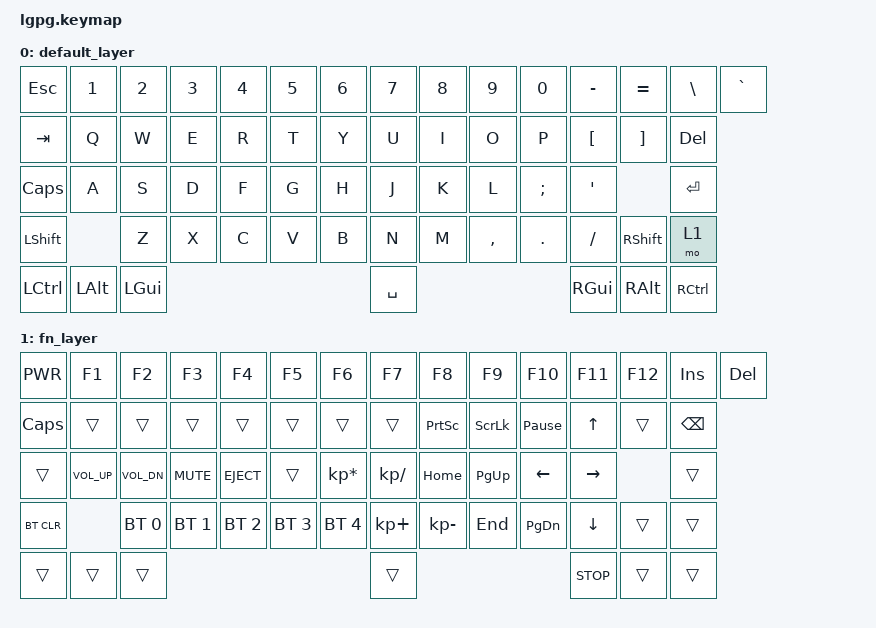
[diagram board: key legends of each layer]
/*
 * Copyright (c) 2022 Ramon Imbao
 *
 * SPDX-License-Identifier: MIT
 */

#include <behaviors.dtsi>
#include <dt-bindings/zmk/keys.h>
#include <dt-bindings/zmk/bt.h>

/ {
    keymap {
        compatible = "zmk,keymap";

        default_layer {
            bindings = <
                &kp ESC   &kp N1    &kp N2    &kp N3    &kp N4    &kp N5    &kp N6    &kp N7    &kp N8    &kp N9    &kp N0    &kp MINUS &kp EQUAL &kp BSLH  &kp GRAVE
                &kp TAB   &kp Q     &kp W     &kp E     &kp R     &kp T     &kp Y     &kp U     &kp I     &kp O     &kp P     &kp LBKT  &kp RBKT  &kp DEL
                &kp CAPS  &kp A     &kp S     &kp D     &kp F     &kp G     &kp H     &kp J     &kp K     &kp L     &kp SEMI  &kp APOS            &kp ENTER
                &kp LSHFT           &kp Z     &kp X     &kp C     &kp V     &kp B     &kp N     &kp M     &kp COMMA &kp DOT   &kp SLASH &kp RSHFT &mo 1
                &kp LCTRL &kp LALT  &kp LGUI                                          &kp SPACE                               &kp RGUI  &kp RALT  &kp RCTRL
            >;
        };

        fn_layer {
            bindings = <
                &kp C_PWR  &kp F1       &kp F2       &kp F3       &kp F4       &kp F5       &kp F6          &kp F7        &kp F8       &kp F9    &kp F10         &kp F11    &kp F12   &kp INS   &kp DEL
                &kp CAPS   &trans       &trans       &trans       &trans       &trans       &trans          &trans        &kp PSCRN    &kp SLCK  &kp PAUSE_BREAK &kp UP     &trans    &kp BSPC
                &trans     &kp C_VOL_UP &kp C_VOL_DN &kp C_MUTE   &kp C_EJECT  &trans       &kp KP_MULTIPLY &kp KP_DIVIDE &kp HOME     &kp PG_UP &kp LEFT        &kp RIGHT            &trans
                &bt BT_CLR              &bt BT_SEL 0 &bt BT_SEL 1 &bt BT_SEL 2 &bt BT_SEL 3 &bt BT_SEL 4    &kp KP_PLUS   &kp KP_MINUS &kp END   &kp PG_DN       &kp DOWN   &trans    &trans  
                &trans     &trans       &trans                                                              &trans                                               &kp C_STOP &trans    &trans
            >;
        };
    };
};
